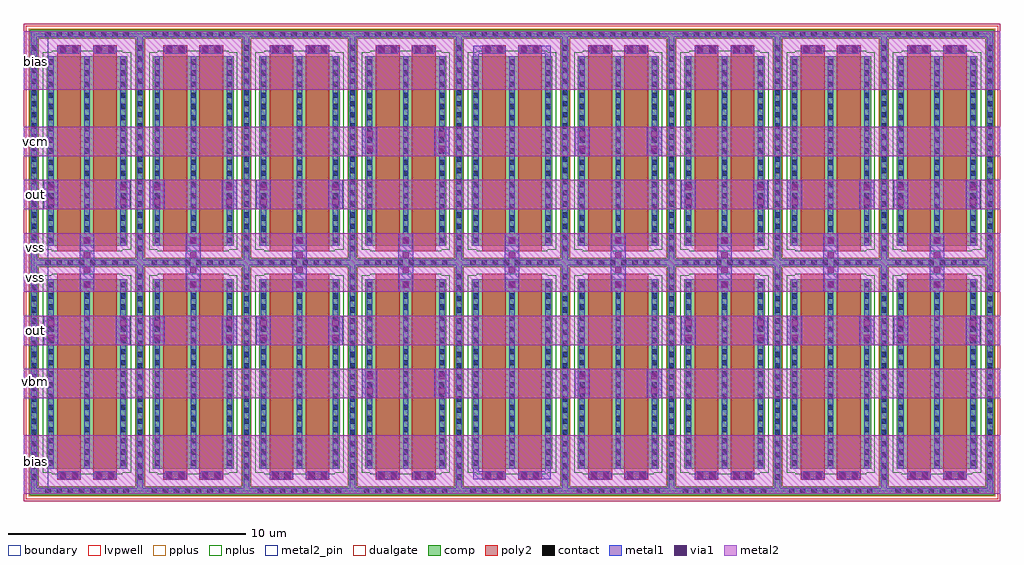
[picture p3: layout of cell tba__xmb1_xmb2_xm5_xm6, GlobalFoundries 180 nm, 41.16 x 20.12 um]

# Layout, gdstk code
from math import pi, radians
import gdstk
lib = gdstk.Library(unit=1e-6, precision=1e-09)
def R(c, l, rs):  # rectangles x0, y0, x1, y1
    for r in rs: c.add(gdstk.rectangle(r[:2], r[2:], *l))
def A(c, l, x, y, w, h, nx, ny, dx, dy):  # array of equal rectangles
    R(c, l, [(x+i*dx, y+j*dy, x+i*dx+w, y+j*dy+h) for i in range(nx) for j in range(ny)])
def P(c, l, *ps):  # polygons
    for p in ps: c.add(gdstk.Polygon(p, *l))
boundary = (0, 0)
comp = (22, 0)
poly2 = (30, 0)
pplus = (31, 0)
nplus = (32, 0)
contact = (33, 0)
metal1 = (34, 0)
via1 = (35, 0)
metal2 = (36, 0)
metal2_pin = (36, 10)
dualgate = (55, 0)
lvpwell = (204, 0)

via__m1_m2_min = lib.new_cell('via__M1_M2_MIN')
R(via__m1_m2_min, metal1, [(0,0,0.86,0.34)])
R(via__m1_m2_min, via1, [(0.04,0.04,0.3,0.3), (0.56,0.04,0.82,0.3)])
R(via__m1_m2_min, metal2, [(0,0,0.86,0.34)])

via__m1_m2_squ = lib.new_cell('via__M1_M2_SQU')
R(via__m1_m2_squ, metal1, [(0,0,1.24,0.62), (0,0,1.24,0.62)])
R(via__m1_m2_squ, via1, [(0.18,0.18,0.44,0.44), (0.18,0.18,0.44,0.44), (0.8,0.18,1.06,0.44), (0.8,0.18,1.06,0.44)])
R(via__m1_m2_squ, metal2, [(0,0,1.24,0.62), (0,0,1.24,0.62)])

nfet_06v0_8u_1u_2nf = lib.new_cell('nfet_06v0_8u_1u_2nf')
R(nfet_06v0_8u_1u_2nf, boundary, [(0.42,0.42,4.9,10.06)])
R(nfet_06v0_8u_1u_2nf, comp, [(0.24,0.24,5.08,0.6), (0.24,0.6,0.6,9.88), (4.72,0.6,5.08,9.88), (0.96,1.12,4.36,9.12), (0.24,9.88,5.08,10.24)])
R(nfet_06v0_8u_1u_2nf, poly2, [(1.4,0.9,2.4,9.58), (2.92,0.9,3.92,9.58)])
P(nfet_06v0_8u_1u_2nf, pplus, [(0.21,0.21),(0.21,9.85),(0.63,9.85),(0.63,0.63),(4.69,0.63),(4.69,9.85),(0.21,9.85),(0.21,10.27),(5.11,10.27),(5.11,0.21)])
R(nfet_06v0_8u_1u_2nf, nplus, [(1.17,0.89,4.15,0.96), (0.8,0.96,4.52,9.28), (1.17,9.28,4.15,9.35)])
A(nfet_06v0_8u_1u_2nf, contact, 0.905, 0.31, 0.22, 0.22, 8, 2, 0.47, 9.64)
A(nfet_06v0_8u_1u_2nf, contact, 0.31, 0.9, 0.22, 0.22, 1, 19, 0, 0.47)
A(nfet_06v0_8u_1u_2nf, contact, 4.79, 0.9, 0.22, 0.22, 1, 19, 0, 0.47)
A(nfet_06v0_8u_1u_2nf, contact, 1.03, 1.25, 0.22, 0.22, 3, 17, 1.52, 0.47)
R(nfet_06v0_8u_1u_2nf, contact, [(1.555,9.29,1.775,9.51), (2.025,9.29,2.245,9.51), (3.075,9.29,3.295,9.51), (3.545,9.29,3.765,9.51)])
A(nfet_06v0_8u_1u_2nf, metal1, 1.025, 1.13, 0.23, 7.98, 3, 1, 1.52, 0)
R(nfet_06v0_8u_1u_2nf, metal1, [(0.305,0.305,5.015,0.535), (0.305,0.535,0.535,9.945), (4.785,0.535,5.015,9.945), (1.41,9.285,2.39,9.515), (2.93,9.285,3.91,9.515), (0.305,9.945,5.015,10.175)])
R(nfet_06v0_8u_1u_2nf, dualgate, [(0,0,5.32,10.48)])
R(nfet_06v0_8u_1u_2nf, lvpwell, [(0.08,0.08,5.24,10.4)])

tba__xmb1_xmb2_xm5_xm6 = lib.new_cell('tba__xmb1_xmb2_xm5_xm6')
P(tba__xmb1_xmb2_xm5_xm6, metal1, [(18.945,0.91),(18.945,1.37),(19.175,1.37),(19.175,1.25),(19.39,1.25),(19.39,0.91)],
  [(21.77,0.91),(21.77,1.25),(21.985,1.25),(21.985,1.37),(22.215,1.37),(22.215,0.91)],
  [(18.945,18.75),(18.945,19.21),(19.39,19.21),(19.39,18.87),(19.175,18.87),(19.175,18.75)],
  [(21.985,18.75),(21.985,18.87),(21.77,18.87),(21.77,19.21),(22.215,19.21),(22.215,18.75)])
A(tba__xmb1_xmb2_xm5_xm6, metal2, 0, 4.34, 41.16, 1.24, 1, 3, 0, 2.24)
A(tba__xmb1_xmb2_xm5_xm6, metal2, 0, 10.06, 41.16, 1.24, 1, 3, 0, 2.24)
R(tba__xmb1_xmb2_xm5_xm6, metal2, [(0,0.305,41.16,2.785), (0,17.335,41.16,19.815)])
A(tba__xmb1_xmb2_xm5_xm6, metal2_pin, 0, 4.34, 1.015, 1.24, 1, 3, 0, 2.24)
A(tba__xmb1_xmb2_xm5_xm6, metal2_pin, 0, 10.06, 1.015, 1.24, 1, 3, 0, 2.24)
R(tba__xmb1_xmb2_xm5_xm6, metal2_pin, [(0,0.305,1.015,2.785), (0,17.335,1.015,19.815)])
tba__xmb1_xmb2_xm5_xm6.add(gdstk.Reference(via__m1_m2_min, (1.47,18.87)))
tba__xmb1_xmb2_xm5_xm6.add(gdstk.Reference(via__m1_m2_min, (2.99,18.87)))
tba__xmb1_xmb2_xm5_xm6.add(gdstk.Reference(via__m1_m2_min, (5.95,18.87)))
tba__xmb1_xmb2_xm5_xm6.add(gdstk.Reference(via__m1_m2_min, (7.47,18.87)))
tba__xmb1_xmb2_xm5_xm6.add(gdstk.Reference(via__m1_m2_min, (10.43,18.87)))
tba__xmb1_xmb2_xm5_xm6.add(gdstk.Reference(via__m1_m2_min, (11.95,18.87)))
tba__xmb1_xmb2_xm5_xm6.add(gdstk.Reference(via__m1_m2_min, (14.91,18.87)))
tba__xmb1_xmb2_xm5_xm6.add(gdstk.Reference(via__m1_m2_min, (16.43,18.87)))
tba__xmb1_xmb2_xm5_xm6.add(gdstk.Reference(via__m1_m2_min, (19.39,18.87)))
tba__xmb1_xmb2_xm5_xm6.add(gdstk.Reference(via__m1_m2_min, (20.91,18.87)))
tba__xmb1_xmb2_xm5_xm6.add(gdstk.Reference(via__m1_m2_min, (23.87,18.87)))
tba__xmb1_xmb2_xm5_xm6.add(gdstk.Reference(via__m1_m2_min, (25.39,18.87)))
tba__xmb1_xmb2_xm5_xm6.add(gdstk.Reference(via__m1_m2_min, (28.35,18.87)))
tba__xmb1_xmb2_xm5_xm6.add(gdstk.Reference(via__m1_m2_min, (29.87,18.87)))
tba__xmb1_xmb2_xm5_xm6.add(gdstk.Reference(via__m1_m2_min, (32.83,18.87)))
tba__xmb1_xmb2_xm5_xm6.add(gdstk.Reference(via__m1_m2_min, (34.35,18.87)))
tba__xmb1_xmb2_xm5_xm6.add(gdstk.Reference(via__m1_m2_min, (37.31,18.87)))
tba__xmb1_xmb2_xm5_xm6.add(gdstk.Reference(via__m1_m2_min, (38.83,18.87)))
tba__xmb1_xmb2_xm5_xm6.add(gdstk.Reference(via__m1_m2_min, (1.47,1.25), x_reflection=True))
tba__xmb1_xmb2_xm5_xm6.add(gdstk.Reference(via__m1_m2_min, (2.99,1.25), x_reflection=True))
tba__xmb1_xmb2_xm5_xm6.add(gdstk.Reference(via__m1_m2_min, (5.95,1.25), x_reflection=True))
tba__xmb1_xmb2_xm5_xm6.add(gdstk.Reference(via__m1_m2_min, (7.47,1.25), x_reflection=True))
tba__xmb1_xmb2_xm5_xm6.add(gdstk.Reference(via__m1_m2_min, (10.43,1.25), x_reflection=True))
tba__xmb1_xmb2_xm5_xm6.add(gdstk.Reference(via__m1_m2_min, (11.95,1.25), x_reflection=True))
tba__xmb1_xmb2_xm5_xm6.add(gdstk.Reference(via__m1_m2_min, (14.91,1.25), x_reflection=True))
tba__xmb1_xmb2_xm5_xm6.add(gdstk.Reference(via__m1_m2_min, (16.43,1.25), x_reflection=True))
tba__xmb1_xmb2_xm5_xm6.add(gdstk.Reference(via__m1_m2_min, (19.39,1.25), x_reflection=True))
tba__xmb1_xmb2_xm5_xm6.add(gdstk.Reference(via__m1_m2_min, (20.91,1.25), x_reflection=True))
tba__xmb1_xmb2_xm5_xm6.add(gdstk.Reference(via__m1_m2_min, (23.87,1.25), x_reflection=True))
tba__xmb1_xmb2_xm5_xm6.add(gdstk.Reference(via__m1_m2_min, (25.39,1.25), x_reflection=True))
tba__xmb1_xmb2_xm5_xm6.add(gdstk.Reference(via__m1_m2_min, (28.35,1.25), x_reflection=True))
tba__xmb1_xmb2_xm5_xm6.add(gdstk.Reference(via__m1_m2_min, (29.87,1.25), x_reflection=True))
tba__xmb1_xmb2_xm5_xm6.add(gdstk.Reference(via__m1_m2_min, (32.83,1.25), x_reflection=True))
tba__xmb1_xmb2_xm5_xm6.add(gdstk.Reference(via__m1_m2_min, (34.35,1.25), x_reflection=True))
tba__xmb1_xmb2_xm5_xm6.add(gdstk.Reference(via__m1_m2_min, (37.31,1.25), x_reflection=True))
tba__xmb1_xmb2_xm5_xm6.add(gdstk.Reference(via__m1_m2_min, (38.83,1.25), x_reflection=True))
tba__xmb1_xmb2_xm5_xm6.add(gdstk.Reference(via__m1_m2_squ, (1.45,6.58), rotation=pi/2))
tba__xmb1_xmb2_xm5_xm6.add(gdstk.Reference(via__m1_m2_squ, (4.49,6.58), rotation=pi/2))
tba__xmb1_xmb2_xm5_xm6.add(gdstk.Reference(via__m1_m2_squ, (5.93,6.58), rotation=pi/2))
tba__xmb1_xmb2_xm5_xm6.add(gdstk.Reference(via__m1_m2_squ, (8.97,6.58), rotation=pi/2))
tba__xmb1_xmb2_xm5_xm6.add(gdstk.Reference(via__m1_m2_squ, (10.41,6.58), rotation=pi/2))
tba__xmb1_xmb2_xm5_xm6.add(gdstk.Reference(via__m1_m2_squ, (13.45,6.58), rotation=pi/2))
tba__xmb1_xmb2_xm5_xm6.add(gdstk.Reference(via__m1_m2_squ, (28.33,6.58), rotation=pi/2))
tba__xmb1_xmb2_xm5_xm6.add(gdstk.Reference(via__m1_m2_squ, (31.37,6.58), rotation=pi/2))
tba__xmb1_xmb2_xm5_xm6.add(gdstk.Reference(via__m1_m2_squ, (32.81,6.58), rotation=pi/2))
tba__xmb1_xmb2_xm5_xm6.add(gdstk.Reference(via__m1_m2_squ, (35.85,6.58), rotation=pi/2))
tba__xmb1_xmb2_xm5_xm6.add(gdstk.Reference(via__m1_m2_squ, (37.29,6.58), rotation=pi/2))
tba__xmb1_xmb2_xm5_xm6.add(gdstk.Reference(via__m1_m2_squ, (40.33,6.58), rotation=pi/2))
tba__xmb1_xmb2_xm5_xm6.add(gdstk.Reference(via__m1_m2_squ, (2.97,8.82), rotation=pi/2))
tba__xmb1_xmb2_xm5_xm6.add(gdstk.Reference(via__m1_m2_squ, (7.45,8.82), rotation=pi/2))
tba__xmb1_xmb2_xm5_xm6.add(gdstk.Reference(via__m1_m2_squ, (11.93,8.82), rotation=pi/2))
tba__xmb1_xmb2_xm5_xm6.add(gdstk.Reference(via__m1_m2_squ, (16.41,8.82), rotation=pi/2))
tba__xmb1_xmb2_xm5_xm6.add(gdstk.Reference(via__m1_m2_squ, (20.89,8.82), rotation=pi/2))
tba__xmb1_xmb2_xm5_xm6.add(gdstk.Reference(via__m1_m2_squ, (25.37,8.82), rotation=pi/2))
tba__xmb1_xmb2_xm5_xm6.add(gdstk.Reference(via__m1_m2_squ, (29.85,8.82), rotation=pi/2))
tba__xmb1_xmb2_xm5_xm6.add(gdstk.Reference(via__m1_m2_squ, (34.33,8.82), rotation=pi/2))
tba__xmb1_xmb2_xm5_xm6.add(gdstk.Reference(via__m1_m2_squ, (38.81,8.82), rotation=pi/2))
tba__xmb1_xmb2_xm5_xm6.add(gdstk.Reference(via__m1_m2_squ, (2.97,10.06), rotation=pi/2))
tba__xmb1_xmb2_xm5_xm6.add(gdstk.Reference(via__m1_m2_squ, (7.45,10.06), rotation=pi/2))
tba__xmb1_xmb2_xm5_xm6.add(gdstk.Reference(via__m1_m2_squ, (11.93,10.06), rotation=pi/2))
tba__xmb1_xmb2_xm5_xm6.add(gdstk.Reference(via__m1_m2_squ, (16.41,10.06), rotation=pi/2))
tba__xmb1_xmb2_xm5_xm6.add(gdstk.Reference(via__m1_m2_squ, (20.89,10.06), rotation=pi/2))
tba__xmb1_xmb2_xm5_xm6.add(gdstk.Reference(via__m1_m2_squ, (25.37,10.06), rotation=pi/2))
tba__xmb1_xmb2_xm5_xm6.add(gdstk.Reference(via__m1_m2_squ, (29.85,10.06), rotation=pi/2))
tba__xmb1_xmb2_xm5_xm6.add(gdstk.Reference(via__m1_m2_squ, (34.33,10.06), rotation=pi/2))
tba__xmb1_xmb2_xm5_xm6.add(gdstk.Reference(via__m1_m2_squ, (38.81,10.06), rotation=pi/2))
tba__xmb1_xmb2_xm5_xm6.add(gdstk.Reference(via__m1_m2_squ, (1.45,12.3), rotation=pi/2))
tba__xmb1_xmb2_xm5_xm6.add(gdstk.Reference(via__m1_m2_squ, (4.49,12.3), rotation=pi/2))
tba__xmb1_xmb2_xm5_xm6.add(gdstk.Reference(via__m1_m2_squ, (5.93,12.3), rotation=pi/2))
tba__xmb1_xmb2_xm5_xm6.add(gdstk.Reference(via__m1_m2_squ, (8.97,12.3), rotation=pi/2))
tba__xmb1_xmb2_xm5_xm6.add(gdstk.Reference(via__m1_m2_squ, (10.41,12.3), rotation=pi/2))
tba__xmb1_xmb2_xm5_xm6.add(gdstk.Reference(via__m1_m2_squ, (13.45,12.3), rotation=pi/2))
tba__xmb1_xmb2_xm5_xm6.add(gdstk.Reference(via__m1_m2_squ, (28.33,12.3), rotation=pi/2))
tba__xmb1_xmb2_xm5_xm6.add(gdstk.Reference(via__m1_m2_squ, (31.37,12.3), rotation=pi/2))
tba__xmb1_xmb2_xm5_xm6.add(gdstk.Reference(via__m1_m2_squ, (32.81,12.3), rotation=pi/2))
tba__xmb1_xmb2_xm5_xm6.add(gdstk.Reference(via__m1_m2_squ, (35.85,12.3), rotation=pi/2))
tba__xmb1_xmb2_xm5_xm6.add(gdstk.Reference(via__m1_m2_squ, (37.29,12.3), rotation=pi/2))
tba__xmb1_xmb2_xm5_xm6.add(gdstk.Reference(via__m1_m2_squ, (40.33,12.3), rotation=pi/2))
tba__xmb1_xmb2_xm5_xm6.add(gdstk.Reference(via__m1_m2_squ, (14.89,14.54), rotation=pi/2))
tba__xmb1_xmb2_xm5_xm6.add(gdstk.Reference(via__m1_m2_squ, (17.93,14.54), rotation=pi/2))
tba__xmb1_xmb2_xm5_xm6.add(gdstk.Reference(via__m1_m2_squ, (23.85,14.54), rotation=pi/2))
tba__xmb1_xmb2_xm5_xm6.add(gdstk.Reference(via__m1_m2_squ, (26.89,14.54), rotation=pi/2))
tba__xmb1_xmb2_xm5_xm6.add(gdstk.Reference(via__m1_m2_squ, (14.89,5.58), rotation=3*pi/2, x_reflection=True))
tba__xmb1_xmb2_xm5_xm6.add(gdstk.Reference(via__m1_m2_squ, (17.93,5.58), rotation=3*pi/2, x_reflection=True))
tba__xmb1_xmb2_xm5_xm6.add(gdstk.Reference(via__m1_m2_squ, (23.85,5.58), rotation=3*pi/2, x_reflection=True))
tba__xmb1_xmb2_xm5_xm6.add(gdstk.Reference(via__m1_m2_squ, (26.89,5.58), rotation=3*pi/2, x_reflection=True))
tba__xmb1_xmb2_xm5_xm6.add(gdstk.Reference(nfet_06v0_8u_1u_2nf, (0,9.64)))
tba__xmb1_xmb2_xm5_xm6.add(gdstk.Reference(nfet_06v0_8u_1u_2nf, (4.48,9.64)))
tba__xmb1_xmb2_xm5_xm6.add(gdstk.Reference(nfet_06v0_8u_1u_2nf, (8.96,9.64)))
tba__xmb1_xmb2_xm5_xm6.add(gdstk.Reference(nfet_06v0_8u_1u_2nf, (13.44,9.64)))
tba__xmb1_xmb2_xm5_xm6.add(gdstk.Reference(nfet_06v0_8u_1u_2nf, (17.92,9.64)))
tba__xmb1_xmb2_xm5_xm6.add(gdstk.Reference(nfet_06v0_8u_1u_2nf, (22.4,9.64)))
tba__xmb1_xmb2_xm5_xm6.add(gdstk.Reference(nfet_06v0_8u_1u_2nf, (26.88,9.64)))
tba__xmb1_xmb2_xm5_xm6.add(gdstk.Reference(nfet_06v0_8u_1u_2nf, (31.36,9.64)))
tba__xmb1_xmb2_xm5_xm6.add(gdstk.Reference(nfet_06v0_8u_1u_2nf, (35.84,9.64)))
tba__xmb1_xmb2_xm5_xm6.add(gdstk.Reference(nfet_06v0_8u_1u_2nf, (0,10.48), x_reflection=True))
tba__xmb1_xmb2_xm5_xm6.add(gdstk.Reference(nfet_06v0_8u_1u_2nf, (4.48,10.48), x_reflection=True))
tba__xmb1_xmb2_xm5_xm6.add(gdstk.Reference(nfet_06v0_8u_1u_2nf, (8.96,10.48), x_reflection=True))
tba__xmb1_xmb2_xm5_xm6.add(gdstk.Reference(nfet_06v0_8u_1u_2nf, (13.44,10.48), x_reflection=True))
tba__xmb1_xmb2_xm5_xm6.add(gdstk.Reference(nfet_06v0_8u_1u_2nf, (17.92,10.48), x_reflection=True))
tba__xmb1_xmb2_xm5_xm6.add(gdstk.Reference(nfet_06v0_8u_1u_2nf, (22.4,10.48), x_reflection=True))
tba__xmb1_xmb2_xm5_xm6.add(gdstk.Reference(nfet_06v0_8u_1u_2nf, (26.88,10.48), x_reflection=True))
tba__xmb1_xmb2_xm5_xm6.add(gdstk.Reference(nfet_06v0_8u_1u_2nf, (31.36,10.48), x_reflection=True))
tba__xmb1_xmb2_xm5_xm6.add(gdstk.Reference(nfet_06v0_8u_1u_2nf, (35.84,10.48), x_reflection=True))
tba__xmb1_xmb2_xm5_xm6.add(gdstk.Label('vcm', (0.485,15.16), layer=36, texttype=10))
tba__xmb1_xmb2_xm5_xm6.add(gdstk.Label('bias', (0.485,1.65), layer=36, texttype=10))
tba__xmb1_xmb2_xm5_xm6.add(gdstk.Label('bias', (0.485,18.535), layer=36, texttype=10))
tba__xmb1_xmb2_xm5_xm6.add(gdstk.Label('vbm', (0.485,5.027), layer=36, texttype=10))
tba__xmb1_xmb2_xm5_xm6.add(gdstk.Label('vss', (0.485,9.44), layer=36, texttype=10))
tba__xmb1_xmb2_xm5_xm6.add(gdstk.Label('vss', (0.485,10.68), layer=36, texttype=10))
tba__xmb1_xmb2_xm5_xm6.add(gdstk.Label('out', (0.485,7.2), layer=36, texttype=10))
tba__xmb1_xmb2_xm5_xm6.add(gdstk.Label('out', (0.485,12.92), layer=36, texttype=10))

lib.write_gds('tba__xmb1_xmb2_xm5_xm6.gds')
